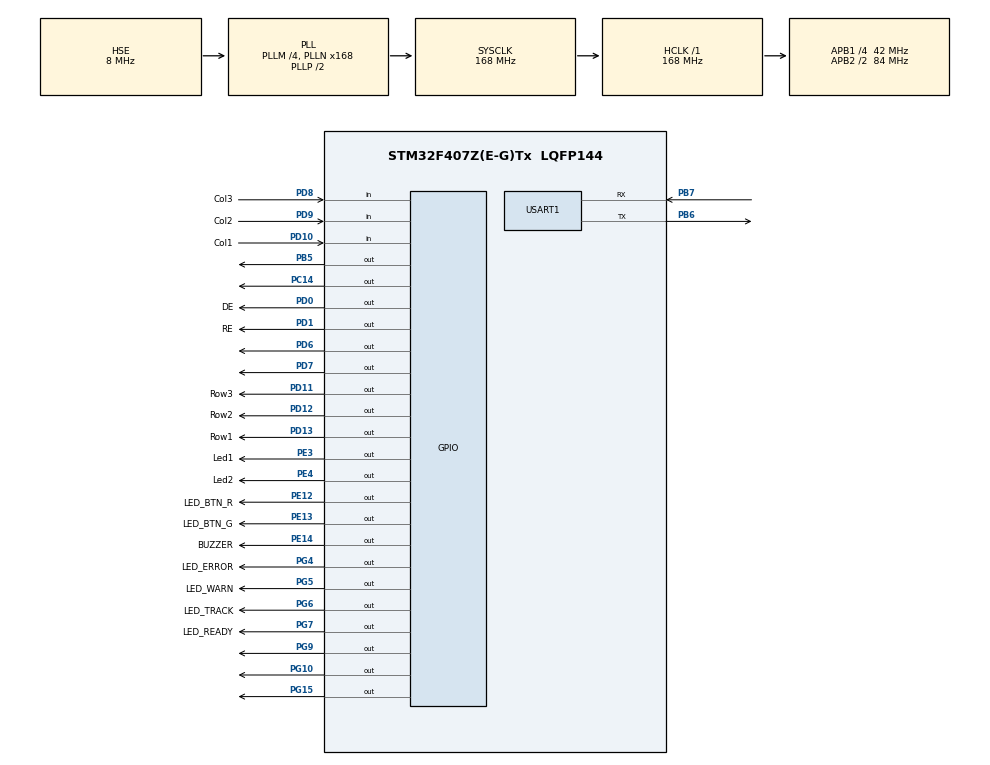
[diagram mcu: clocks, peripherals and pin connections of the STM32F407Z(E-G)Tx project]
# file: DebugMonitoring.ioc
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Mcu.Family=STM32F4
Mcu.Name=STM32F407Z(E-G)Tx
Mcu.Package=LQFP144
NVIC.PriorityGroup=NVIC_PRIORITYGROUP_4
NVIC.USART1_IRQn=true\:0\:0\:false\:false\:true\:true\:true\:true
PA13.Mode=Serial_Wire
PA13.Signal=SYS_JTMS-SWDIO
PA14.Mode=Serial_Wire
PA14.Signal=SYS_JTCK-SWCLK
PB14.Signal=SPI2_MISO
PB15.Signal=SPI2_MOSI
PB5.Signal=GPIO_Output
PB6.Mode=Asynchronous
PB6.Signal=USART1_TX
PB7.Mode=Asynchronous
PB7.Signal=USART1_RX
PC14-OSC32_IN.Signal=GPIO_Output
PD0.GPIO_Label=DE
PD0.Signal=GPIO_Output
PD1.GPIO_Label=RE
PD1.Signal=GPIO_Output
PD10.GPIO_Label=Col1
PD10.GPIO_PuPd=GPIO_PULLDOWN
PD10.Signal=GPIO_Input
PD11.GPIO_Label=Row3
PD11.GPIO_PuPd=GPIO_NOPULL
PD11.Signal=GPIO_Output
PD12.GPIO_Label=Row2
PD12.GPIO_PuPd=GPIO_NOPULL
PD12.Signal=GPIO_Output
PD13.GPIO_Label=Row1
PD13.GPIO_PuPd=GPIO_NOPULL
PD13.Signal=GPIO_Output
PD6.Signal=GPIO_Output
PD7.Signal=GPIO_Output
PD8.GPIO_Label=Col3
PD8.GPIO_PuPd=GPIO_PULLDOWN
PD8.Signal=GPIO_Input
PD9.GPIO_Label=Col2
PD9.GPIO_PuPd=GPIO_PULLDOWN
PD9.Signal=GPIO_Input
PE12.GPIO_Label=LED_BTN_R
PE12.Signal=GPIO_Output
PE13.GPIO_Label=LED_BTN_G
PE13.Signal=GPIO_Output
PE14.GPIO_Label=BUZZER
PE14.Signal=GPIO_Output
PE3.GPIO_Label=Led1
PE3.Signal=GPIO_Output
PE4.GPIO_Label=Led2
PE4.Signal=GPIO_Output
PG10.Signal=GPIO_Output
PG15.Signal=GPIO_Output
PG4.GPIO_Label=LED_ERROR
PG4.PinState=GPIO_PIN_SET
PG4.Signal=GPIO_Output
PG5.GPIO_Label=LED_WARN
PG5.PinState=GPIO_PIN_SET
PG5.Signal=GPIO_Output
PG6.GPIO_Label=LED_TRACK
PG6.PinState=GPIO_PIN_SET
PG6.Signal=GPIO_Output
PG7.GPIO_Label=LED_READY
PG7.PinState=GPIO_PIN_SET
PG7.Signal=GPIO_Output
PG9.Signal=GPIO_Output
PH0-OSC_IN.Mode=HSE-External-Oscillator
PH0-OSC_IN.Signal=RCC_OSC_IN
PH1-OSC_OUT.Mode=HSE-External-Oscillator
PH1-OSC_OUT.Signal=RCC_OSC_OUT
ProjectManager.HeapSize=0x2000
ProjectManager.StackSize=0x4000
ProjectManager.TargetToolchain=STM32CubeIDE
RCC.48MHZClocksFreq_Value=48000000
RCC.AHBFreq_Value=168000000
RCC.APB1CLKDivider=RCC_HCLK_DIV4
RCC.APB1Freq_Value=42000000
RCC.APB1TimFreq_Value=84000000
RCC.APB2CLKDivider=RCC_HCLK_DIV2
RCC.APB2Freq_Value=84000000
RCC.APB2TimFreq_Value=168000000
RCC.CortexFreq_Value=168000000
RCC.HCLKFreq_Value=168000000
RCC.HSE_VALUE=8000000
RCC.HSI_VALUE=16000000
RCC.LSE_VALUE=32768
RCC.PLLM=4
RCC.PLLN=168
RCC.PLLQ=7
RCC.PLLSourceVirtual=RCC_PLLSOURCE_HSE
RCC.SYSCLKFreq_VALUE=168000000
RCC.SYSCLKSource=RCC_SYSCLKSOURCE_PLLCLK
RCC.VCOOutputFreq_Value=336000000
USART1.VirtualMode=VM_ASYNC
board=custom

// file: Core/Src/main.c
/* USER CODE BEGIN Header */
/**
  ******************************************************************************
  * @file           : main.c
  * @brief          : Main program body
  ******************************************************************************
  * @attention
  *
  * Copyright (c) 2025 STMicroelectronics.
  * All rights reserved.
  *
  * This software is licensed under terms that can be found in the LICENSE file
  * in the root directory of this software component.
  * If no LICENSE file comes with this software, it is provided AS-IS.
  *
  ******************************************************************************
  */
/* USER CODE END Header */
#include "main.h"
#include "usart.h"
#include "gpio.h"

/* USER CODE BEGIN Includes */
#include "stm32f4xx_hal.h"
#include "stm32f4xx.h"
#include <stdbool.h>
#include "core_cm4.h"
#include <stdint.h>
#include <stdbool.h>

#define DEMCR_MON_EN_Pos 16U
#define DEMCR_MON_STEP_Pos 18U

#define DHCSR_C_DEBUGEN_Pos 0U

#define SHPR3       (*(volatile uint32_t *)0xE000ED20UL)نیستن
#ifndef CoreDebug_DEMCR_MON_STEP_Msk
#define CoreDebug_DEMCR_MON_STEP_Pos   18U
#define CoreDebug_DEMCR_MON_STEP_Msk   (1UL << CoreDebug_DEMCR_MON_STEP_Pos)
#endif

#ifndef CoreDebug_DEMCR_MON_EN_Msk
#define CoreDebug_DEMCR_MON_EN_Pos     16U
#define CoreDebug_DEMCR_MON_EN_Msk     (1UL << CoreDebug_DEMCR_MON_EN_Pos)
#endif
/* USER CODE BEGIN PTD */
volatile uint32_t test_var = 0;
/* USER CODE END PTD */

/* USER CODE BEGIN PV */
int __io_putchar(int ch) {
    HAL_UART_Transmit(&huart1, (uint8_t *)&ch, 1, HAL_MAX_DELAY);
    return ch;
}

// فعال‌سازی Debug Monitor
bool debug_monitor_enable(void) {
    // اگر halting debug فعال باشه، کار نمی‌کنه
    if (CoreDebug->DHCSR & CoreDebug_DHCSR_C_DEBUGEN_Msk) {
        return 0;
    }

    // فعال کردن DebugMonitor
    CoreDebug->DEMCR |= CoreDebug_DEMCR_MON_EN_Msk;

    // تنظیم اولویت DebugMon Handler → پایین‌ترین مقدار (0xFF)
   // HAL_NVIC_SetPriority(DebugMonitor_IRQn, 0,0);
    NVIC_SetPriority(DebugMonitor_IRQn, 0xFF);
    return 1;
}
void Enable_DWT_Watchpoint(void)
{
  // فعال کردن DWT
  CoreDebug->DEMCR |= CoreDebug_DEMCR_TRCENA_Msk;

  // فعال کردن Debug Monitor
  CoreDebug->DEMCR |= CoreDebug_DEMCR_MON_EN_Msk;

  // تنظیم Watchpoint روی test_var
  DWT->COMP0 = (uint32_t)&test_var;   // آدرس متغیر
  DWT->MASK0 = 0;                     // فقط همون آدرس
  DWT->FUNCTION0 = 0x5;               // watchpoint on write        // Watchpoint on write
}
/* USER CODE END PV */

void SystemClock_Config(void);

int main(void)
{

  /* MCU Configuration--------------------------------------------------------*/

  /* Reset of all peripherals, Initializes the Flash interface and the Systick. */
  HAL_Init();

  /* Configure the system clock */
  SystemClock_Config();

  /* Initialize all configured peripherals */
  MX_GPIO_Init();
  MX_USART1_UART_Init();
  /* USER CODE BEGIN 2 */

  if (!debug_monitor_enable()) {
  	for(uint8_t index = 0; index < 5; index++)
  	{
  		HAL_GPIO_TogglePin(GPIOE, GPIO_PIN_3);
  		HAL_Delay(5000);
  	}

  }
  /* USER CODE END 2 */

  /* Infinite loop */
  /* USER CODE BEGIN WHILE */
  while (1)
  {
  	 __asm("BKPT #0");

		 HAL_Delay(500);
		 HAL_GPIO_TogglePin(GPIOE, GPIO_PIN_3);
    /* USER CODE END WHILE */

  }
}

void SystemClock_Config(void)
{
  RCC_OscInitTypeDef RCC_OscInitStruct = {0};
  RCC_ClkInitTypeDef RCC_ClkInitStruct = {0};

  /** Configure the main internal regulator output voltage
  */
  __HAL_RCC_PWR_CLK_ENABLE();
  __HAL_PWR_VOLTAGESCALING_CONFIG(PWR_REGULATOR_VOLTAGE_SCALE1);

  /** Initializes the RCC Oscillators according to the specified parameters
  * in the RCC_OscInitTypeDef structure.
  */
  RCC_OscInitStruct.OscillatorType = RCC_OSCILLATORTYPE_HSE;
  RCC_OscInitStruct.HSEState = RCC_HSE_ON;
  RCC_OscInitStruct.PLL.PLLState = RCC_PLL_ON;
  RCC_OscInitStruct.PLL.PLLSource = RCC_PLLSOURCE_HSE;
  RCC_OscInitStruct.PLL.PLLM = 4;
  RCC_OscInitStruct.PLL.PLLN = 168;
  RCC_OscInitStruct.PLL.PLLP = RCC_PLLP_DIV2;
  RCC_OscInitStruct.PLL.PLLQ = 7;
  if (HAL_RCC_OscConfig(&RCC_OscInitStruct) != HAL_OK)
  {
    Error_Handler();
  }

  /** Initializes the CPU, AHB and APB buses clocks
  */
  RCC_ClkInitStruct.ClockType = RCC_CLOCKTYPE_HCLK|RCC_CLOCKTYPE_SYSCLK
                              |RCC_CLOCKTYPE_PCLK1|RCC_CLOCKTYPE_PCLK2;
  RCC_ClkInitStruct.SYSCLKSource = RCC_SYSCLKSOURCE_PLLCLK;
  RCC_ClkInitStruct.AHBCLKDivider = RCC_SYSCLK_DIV1;
  RCC_ClkInitStruct.APB1CLKDivider = RCC_HCLK_DIV4;
  RCC_ClkInitStruct.APB2CLKDivider = RCC_HCLK_DIV2;

  if (HAL_RCC_ClockConfig(&RCC_ClkInitStruct, FLASH_LATENCY_5) != HAL_OK)
  {
    Error_Handler();
  }
}

void Error_Handler(void)
{
  __disable_irq();
  while (1)
  {
  }
}
